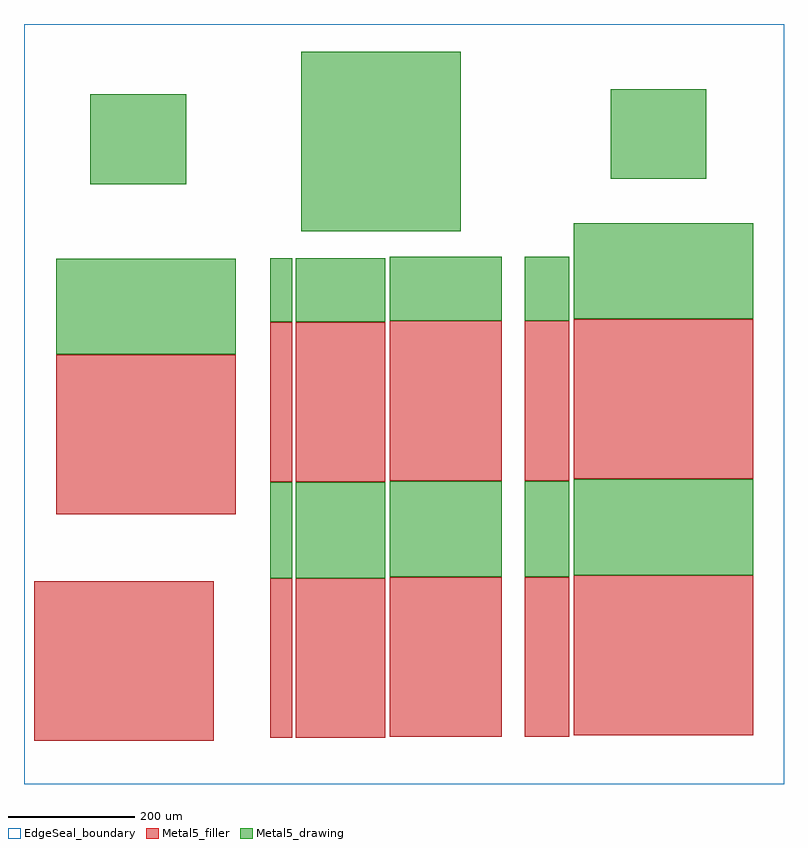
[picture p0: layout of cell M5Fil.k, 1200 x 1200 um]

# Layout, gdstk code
import gdstk
lib = gdstk.Library(unit=1e-6, precision=1e-09)
def R(c, l, rs):  # rectangles x0, y0, x1, y1
    for r in rs: c.add(gdstk.rectangle(r[:2], r[2:], *l))
def A(c, l, x, y, w, h, nx, ny, dx, dy):  # array of equal rectangles
    R(c, l, [(x+i*dx, y+j*dy, x+i*dx+w, y+j*dy+h) for i in range(nx) for j in range(ny)])
EdgeSeal_boundary = (39, 4)
Metal5_drawing = (67, 0)
Metal5_filler = (67, 22)

m5fil_k = lib.new_cell('M5Fil.k')
R(m5fil_k, EdgeSeal_boundary, [(0,0,1200,1200)])
A(m5fil_k, Metal5_drawing, 388.907, 325.181, 35, 50, 1, 3, 0, 50.5)
A(m5fil_k, Metal5_drawing, 428.961, 325.181, 35, 50, 4, 3, 35.5, 50.5)
A(m5fil_k, Metal5_drawing, 577.375, 326.969, 35, 50, 5, 3, 35.5, 50.5)
A(m5fil_k, Metal5_drawing, 790.375, 326.969, 35, 50, 1, 3, 0, 50.5)
A(m5fil_k, Metal5_drawing, 825.875, 326.969, 35, 50, 1, 3, 0, 50.5)
A(m5fil_k, Metal5_drawing, 867.765, 329.83, 35, 50, 8, 3, 35.5, 50.5)
A(m5fil_k, Metal5_drawing, 51.184, 678.548, 35, 50, 8, 3, 35.5, 50.5)
A(m5fil_k, Metal5_drawing, 428.961, 729.88, 35, 50, 4, 2, 35.5, 50.5)
A(m5fil_k, Metal5_drawing, 577.375, 731.668, 35, 50, 5, 2, 35.5, 50.5)
A(m5fil_k, Metal5_drawing, 867.765, 734.529, 35, 50, 8, 3, 35.5, 50.5)
A(m5fil_k, Metal5_drawing, 437.464, 872.858, 50, 35, 5, 8, 50.5, 35.5)
A(m5fil_k, Metal5_drawing, 104.944, 947.263, 50, 35, 3, 4, 50.5, 35.5)
A(m5fil_k, Metal5_drawing, 926.574, 955.698, 50, 35, 3, 4, 50.5, 35.5)
R(m5fil_k, Metal5_drawing, [(388.907,729.88,423.907,779.88), (790.375,731.668,825.375,781.668), (825.875,731.668,860.875,781.668), (388.907,780.38,423.907,830.38), (790.375,782.168,825.375,832.168), (825.875,782.168,860.875,832.168)])
A(m5fil_k, Metal5_filler, 15.949, 68.148, 35, 50, 8, 5, 35.5, 50.5)
A(m5fil_k, Metal5_filler, 388.907, 72.681, 35, 50, 1, 5, 0, 50.5)
A(m5fil_k, Metal5_filler, 428.961, 72.681, 35, 50, 4, 5, 35.5, 50.5)
A(m5fil_k, Metal5_filler, 577.375, 74.469, 35, 50, 5, 5, 35.5, 50.5)
A(m5fil_k, Metal5_filler, 790.375, 74.469, 35, 50, 1, 5, 0, 50.5)
A(m5fil_k, Metal5_filler, 825.875, 74.469, 35, 50, 1, 5, 0, 50.5)
A(m5fil_k, Metal5_filler, 867.765, 77.33, 35, 50, 8, 5, 35.5, 50.5)
A(m5fil_k, Metal5_filler, 51.184, 426.048, 35, 50, 8, 5, 35.5, 50.5)
A(m5fil_k, Metal5_filler, 388.907, 477.38, 35, 50, 1, 5, 0, 50.5)
A(m5fil_k, Metal5_filler, 428.961, 477.38, 35, 50, 4, 5, 35.5, 50.5)
A(m5fil_k, Metal5_filler, 577.375, 479.168, 35, 50, 5, 5, 35.5, 50.5)
A(m5fil_k, Metal5_filler, 790.375, 479.168, 35, 50, 1, 5, 0, 50.5)
A(m5fil_k, Metal5_filler, 825.875, 479.168, 35, 50, 1, 5, 0, 50.5)
A(m5fil_k, Metal5_filler, 867.765, 482.029, 35, 50, 8, 5, 35.5, 50.5)

lib.write_gds('M5Fil.k.gds')
